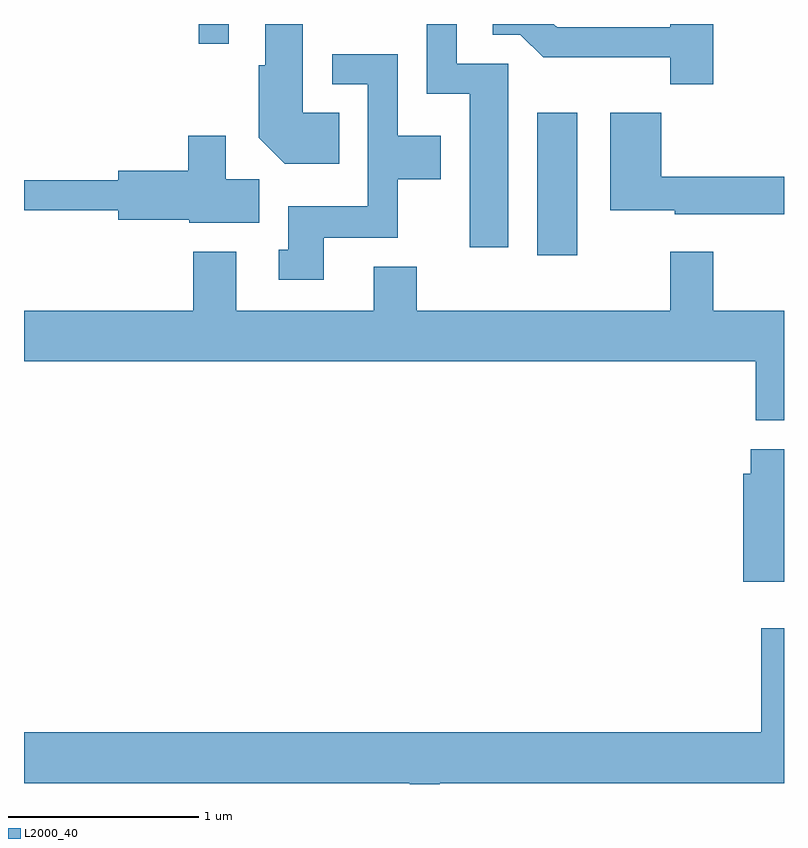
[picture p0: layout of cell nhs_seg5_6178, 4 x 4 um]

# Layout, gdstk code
import gdstk
lib = gdstk.Library(unit=1e-6, precision=1e-09)
def R(c, l, rs):  # rectangles x0, y0, x1, y1
    for r in rs: c.add(gdstk.rectangle(r[:2], r[2:], *l))
def P(c, l, *ps):  # polygons
    for p in ps: c.add(gdstk.Polygon(p, *l))
L2000_40 = (2000, 40)

nhs_seg5_6178 = lib.new_cell('nhs_seg5_6178')
R(nhs_seg5_6178, L2000_40, [(370.311,1512.856,370.524,1513.604), (368.531,1513.968,368.689,1514.072)])
P(nhs_seg5_6178, L2000_40, [(370.159,1513.864),(369.889,1513.864),(369.889,1514.072),(369.731,1514.072),(369.731,1513.706),(369.956,1513.706),(369.956,1512.896),(370.159,1512.896)],
  [(369.269,1513.604),(369.079,1513.604),(369.079,1514.072),(368.881,1514.072),(368.881,1513.854),(368.846,1513.854),(368.846,1513.474),(368.984,1513.336),(369.269,1513.336)],
  [(371.239,1514.072),(371.011,1514.072),(371.011,1514.054),(370.417,1514.054),(370.399,1514.072),(370.078,1514.072),(370.078,1514.016),(370.224,1514.016),(370.344,1513.896),(371.011,1513.896),(371.011,1513.756),(371.239,1513.756)],
  [(369.189,1512.946),(369.579,1512.946),(369.579,1513.256),(369.804,1513.256),(369.804,1513.484),(369.579,1513.484),(369.579,1513.914),(369.233,1513.914),(369.233,1513.756),(369.421,1513.756),(369.421,1513.114),(369.001,1513.114),(369.001,1512.884),(368.953,1512.884),(368.953,1512.726),(369.189,1512.726)],
  [(371.611,1513.269),(370.964,1513.269),(370.964,1513.604),(370.696,1513.604),(370.696,1513.091),(371.036,1513.091),(371.036,1513.071),(371.611,1513.071)],
  [(368.849,1513.254),(368.674,1513.254),(368.674,1513.484),(368.476,1513.484),(368.476,1513.299),(368.106,1513.299),(368.106,1513.249),(367.611,1513.249),(367.611,1513.091),(368.106,1513.091),(368.106,1513.041),(368.48,1513.041),(368.48,1513.026),(368.849,1513.026)],
  [(371.611,1512.564),(371.239,1512.564),(371.239,1512.874),(371.011,1512.874),(371.011,1512.564),(369.679,1512.564),(369.679,1512.794),(369.451,1512.794),(369.451,1512.564),(368.729,1512.564),(368.729,1512.874),(368.501,1512.874),(368.501,1512.564),(367.611,1512.564),(367.611,1512.296),(371.461,1512.296),(371.461,1511.986),(371.611,1511.986)],
  [(371.611,1511.834),(371.436,1511.834),(371.436,1511.704),(371.396,1511.704),(371.396,1511.136),(371.611,1511.136)],
  [(369.799,1510.076),(371.611,1510.076),(371.611,1510.893),(371.491,1510.893),(371.491,1510.344),(367.611,1510.344),(367.611,1510.076),(369.641,1510.076),(369.641,1510.072),(369.799,1510.072)])

lib.write_gds('nhs_seg5_6178.gds')
